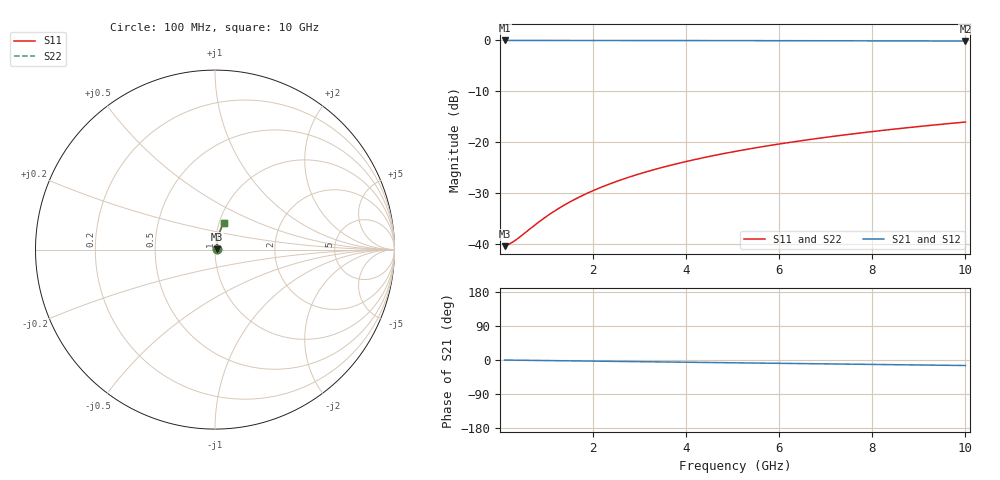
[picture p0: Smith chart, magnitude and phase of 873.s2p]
# Hz S RI R 50.00
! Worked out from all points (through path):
!   100 points, 100 MHz to 10 GHz, reference 50 ohm
!   highest |S21| = -0.08 dB at 100 MHz (marker M1); lowest = -0.2 dB at 10 GHz (marker M2)
!   group delay of S21, straight-line fit = 4.04 ps
!   lowest |S11| = -40.4 dB at 100 MHz (marker M3), VSWR 1.02, Z = 51 + j0.161 ohm
!   |S11| at or under -10 dB: start of sweep to end of sweep
!   |S22| runs from -40.4 to -16.1 dB; largest |S21 - S12| = 0
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1e8  0.00945 0.00158  0.9906 -0.00253  0.9906 -0.00253  0.00945 0.00158
2e8  0.00952 0.00315  0.9905 -0.00507  0.9905 -0.00507  0.00952 0.00315
3e8  0.00958 0.00473  0.9904 -0.0076  0.9904 -0.0076  0.00958 0.00473
4e8  0.00965 0.0063  0.9903 -0.0101  0.9903 -0.0101  0.00965 0.0063
9e8  0.01 0.0142  0.9899 -0.0228  0.9899 -0.0228  0.01 0.0142
1.2e9  0.0103 0.0189  0.9896 -0.0304  0.9896 -0.0304  0.0103 0.0189
1.5e9  0.0107 0.0236  0.9892 -0.038  0.9892 -0.038  0.0107 0.0236
1.8e9  0.0112 0.0283  0.9887 -0.0455  0.9887 -0.0455  0.0112 0.0283
2.1e9  0.0117 0.033  0.9881 -0.0531  0.9881 -0.0531  0.0117 0.033
2.5e9  0.0124 0.0392  0.9872 -0.0632  0.9872 -0.0632  0.0124 0.0392
2.9e9  0.0134 0.0455  0.9862 -0.0732  0.9862 -0.0732  0.0134 0.0455
3.4e9  0.0147 0.0532  0.9848 -0.0858  0.9848 -0.0858  0.0147 0.0532
3.8e9  0.0158 0.0594  0.9835 -0.0958  0.9835 -0.0958  0.0158 0.0594
4.2e9  0.0172 0.0655  0.982 -0.1057  0.982 -0.1057  0.0172 0.0655
4.6e9  0.0186 0.0716  0.9804 -0.1157  0.9804 -0.1157  0.0186 0.0716
5.1e9  0.0205 0.0792  0.9782 -0.128  0.9782 -0.128  0.0205 0.0792
5.9e9  0.0241 0.0912  0.9743 -0.1477  0.9743 -0.1477  0.0241 0.0912
6.7e9  0.0281 0.103  0.9698 -0.1672  0.9698 -0.1672  0.0281 0.103
7.5e9  0.0325 0.1147  0.9648 -0.1865  0.9648 -0.1865  0.0325 0.1147
8.4e9  0.0381 0.1275  0.9585 -0.208  0.9585 -0.208  0.0381 0.1275
9.2e9  0.0435 0.1386  0.9525 -0.2269  0.9525 -0.2269  0.0435 0.1386
1e10  0.0494 0.1495  0.9459 -0.2454  0.9459 -0.2454  0.0494 0.1495
